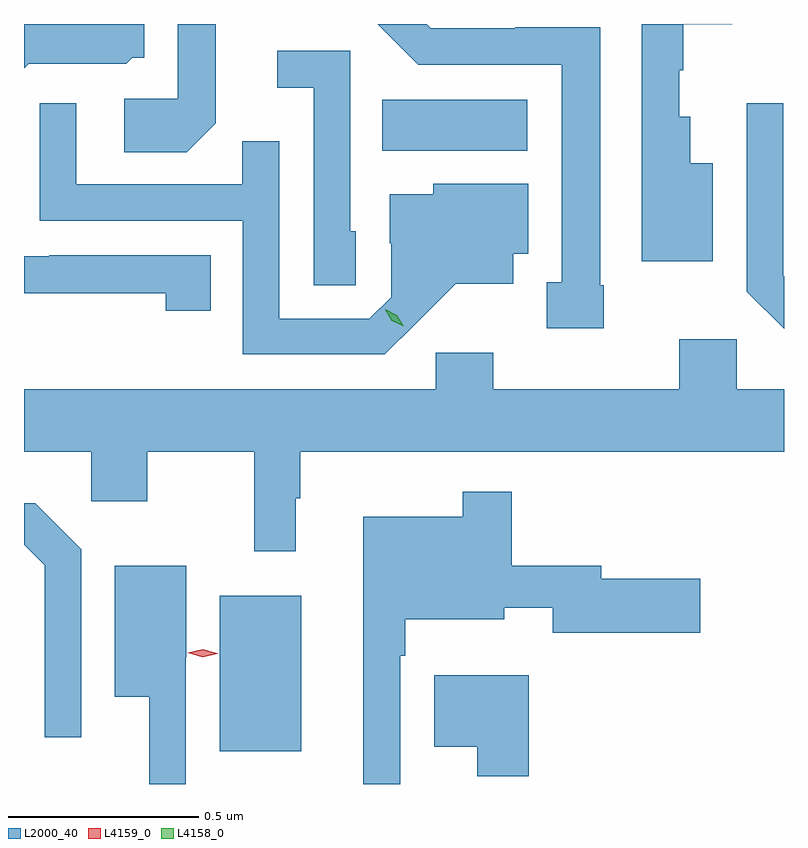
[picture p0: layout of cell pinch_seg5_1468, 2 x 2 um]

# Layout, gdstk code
import gdstk
lib = gdstk.Library(unit=1e-6, precision=1e-09)
def R(c, l, rs):  # rectangles x0, y0, x1, y1
    for r in rs: c.add(gdstk.rectangle(r[:2], r[2:], *l))
def P(c, l, *ps):  # polygons
    for p in ps: c.add(gdstk.Polygon(p, *l))
L2000_40 = (2000, 40)
L4158_0 = (4158, 0)
L4159_0 = (4159, 0)

pinch_seg5_1468 = lib.new_cell('pinch_seg5_1468')
R(pinch_seg5_1468, L2000_40, [(123.62,905.255,123.835,905.665), (124.048,906.836,124.429,906.97)])
P(pinch_seg5_1468, L2000_40, [(123.117,907.065),(123.24,907.065),(123.24,907.064),(123.374,907.064),(123.39,907.08),(123.421,907.08),(123.421,907.169),(123.105,907.169),(123.105,907.053)],
  [(124.918,906.802),(124.858,906.802),(124.858,906.925),(124.829,906.925),(124.829,907.047),(124.84,907.047),(124.84,907.168),(124.969,907.168),(124.969,907.169),(124.731,907.169),(124.731,906.798),(124.73,906.798),(124.73,906.545),(124.918,906.545)],
  [(124.631,906.481),(124.621,906.481),(124.621,907.16),(124.398,907.16),(124.398,907.158),(124.176,907.158),(124.165,907.169),(124.036,907.169),(124.143,907.062),(124.52,907.062),(124.52,906.489),(124.481,906.489),(124.481,906.369),(124.631,906.369)],
  [(123.609,906.908),(123.609,907.169),(123.51,907.169),(123.51,906.972),(123.369,906.972),(123.369,906.832),(123.533,906.832)],
  [(123.978,906.624),(123.963,906.624),(123.963,907.098),(123.771,907.098),(123.771,907.001),(123.867,907.001),(123.867,906.481),(123.978,906.481)],
  [(125.105,906.505),(125.103,906.507),(125.103,906.961),(125.007,906.961),(125.007,906.465),(125.105,906.367)],
  [(124.138,906.383),(124.241,906.485),(124.393,906.485),(124.393,906.564),(124.432,906.564),(124.432,906.748),(124.182,906.748),(124.182,906.721),(124.067,906.721),(124.067,906.592),(124.071,906.592),(124.071,906.45),(124.014,906.393),(123.777,906.393),(123.777,906.86),(123.679,906.86),(123.679,906.747),(123.243,906.747),(123.243,906.961),(123.147,906.961),(123.147,906.651),(123.681,906.651),(123.681,906.3),(124.054,906.3)],
  [(123.596,906.561),(123.172,906.561),(123.172,906.558),(123.105,906.558),(123.105,906.461),(123.121,906.461),(123.121,906.46),(123.478,906.46),(123.478,906.414),(123.596,906.414)],
  [(123.82,905.921),(123.832,905.921),(123.832,906.044),(125.105,906.044),(125.105,906.208),(124.98,906.208),(124.98,906.34),(124.829,906.34),(124.829,906.208),(124.34,906.208),(124.34,906.304),(124.188,906.304),(124.188,906.208),(123.105,906.208),(123.105,906.044),(123.282,906.044),(123.282,905.913),(123.429,905.913),(123.429,906.044),(123.711,906.044),(123.711,905.781),(123.82,905.781)],
  [(124.095,905.507),(124.108,905.507),(124.108,905.603),(124.369,905.603),(124.369,905.633),(124.496,905.633),(124.496,905.567),(124.885,905.567),(124.885,905.709),(124.624,905.709),(124.624,905.743),(124.388,905.743),(124.388,905.938),(124.26,905.938),(124.26,905.872),(123.998,905.872),(123.998,905.169),(124.095,905.169)],
  [(123.255,905.787),(123.134,905.908),(123.105,905.908),(123.105,905.799),(123.159,905.745),(123.159,905.292),(123.255,905.292)],
  [(123.531,905.503),(123.532,905.503),(123.532,905.743),(123.344,905.743),(123.344,905.399),(123.434,905.399),(123.434,905.169),(123.531,905.169)],
  [(124.433,905.455),(124.184,905.455),(124.184,905.267),(124.298,905.267),(124.298,905.189),(124.433,905.189)])
P(pinch_seg5_1468, L4158_0, [(124.104,906.373),(124.073,906.388),(124.055,906.417),(124.055,906.418),(124.055,906.418),(124.086,906.403),(124.104,906.373),(124.104,906.373)])
P(pinch_seg5_1468, L4159_0, [(123.575,905.503),(123.536,905.514),(123.536,905.514),(123.536,905.514),(123.575,905.523),(123.614,905.513),(123.615,905.513),(123.614,905.512)])

lib.write_gds('pinch_seg5_1468.gds')
